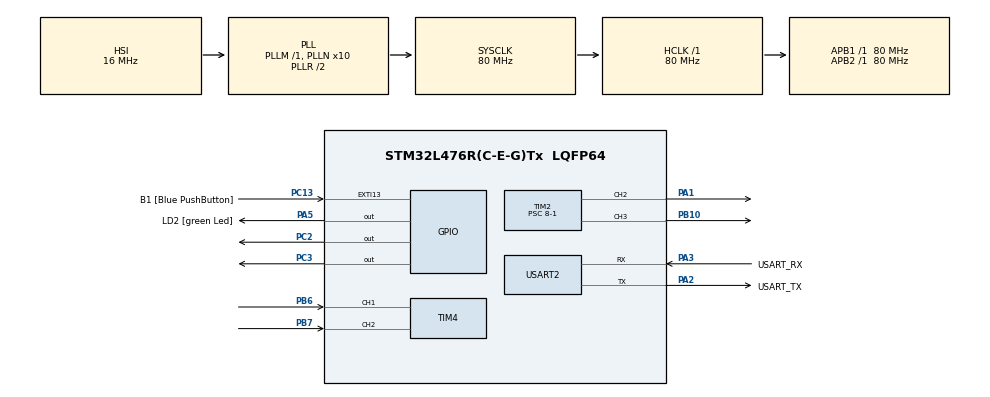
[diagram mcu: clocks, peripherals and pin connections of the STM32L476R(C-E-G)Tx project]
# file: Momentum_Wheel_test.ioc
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Mcu.Family=STM32L4
Mcu.Name=STM32L476R(C-E-G)Tx
Mcu.Package=LQFP64
NVIC.PriorityGroup=NVIC_PRIORITYGROUP_4
NVIC.TIM3_IRQn=true\:0\:0\:true\:false\:true\:true\:true
NVIC.USART2_IRQn=true\:0\:0\:true\:false\:true\:true\:true
PA1.Signal=S_TIM2_CH2
PA13\ (JTMS-SWDIO).GPIO_Label=TMS
PA13\ (JTMS-SWDIO).Mode=Serial_Wire
PA13\ (JTMS-SWDIO).Signal=SYS_JTMS-SWDIO
PA14\ (JTCK-SWCLK).GPIO_Label=TCK
PA14\ (JTCK-SWCLK).Mode=Serial_Wire
PA14\ (JTCK-SWCLK).Signal=SYS_JTCK-SWCLK
PA2.GPIO_Label=USART_TX
PA2.GPIO_Mode=GPIO_MODE_AF_PP
PA2.GPIO_PuPd=GPIO_NOPULL
PA2.GPIO_Speed=GPIO_SPEED_FREQ_VERY_HIGH
PA2.Mode=Asynchronous
PA2.Signal=USART2_TX
PA3.GPIO_Label=USART_RX
PA3.GPIO_Mode=GPIO_MODE_AF_PP
PA3.GPIO_PuPd=GPIO_NOPULL
PA3.GPIO_Speed=GPIO_SPEED_FREQ_VERY_HIGH
PA3.Mode=Asynchronous
PA3.Signal=USART2_RX
PA5.GPIO_Label=LD2 [green Led]
PA5.GPIO_ModeDefaultOutputPP=GPIO_MODE_OUTPUT_PP
PA5.GPIO_PuPd=GPIO_NOPULL
PA5.GPIO_Speed=GPIO_SPEED_FREQ_LOW
PA5.Signal=GPIO_Output
PB10.Signal=S_TIM2_CH3
PB3\ (JTDO-TRACESWO).GPIO_Label=SWO
PB3\ (JTDO-TRACESWO).Signal=SYS_JTDO-SWO
PB6.Signal=S_TIM4_CH1
PB7.Signal=S_TIM4_CH2
PC13.GPIO_Label=B1 [Blue PushButton]
PC13.GPIO_ModeDefaultEXTI=GPIO_MODE_IT_FALLING
PC13.GPIO_PuPd=GPIO_NOPULL
PC13.Signal=GPXTI13
PC14-OSC32_IN\ (PC14).Mode=LSE-External-Oscillator
PC14-OSC32_IN\ (PC14).Signal=RCC_OSC32_IN
PC15-OSC32_OUT\ (PC15).Mode=LSE-External-Oscillator
PC15-OSC32_OUT\ (PC15).Signal=RCC_OSC32_OUT
PC2.PinState=GPIO_PIN_RESET
PC2.Signal=GPIO_Output
PC3.PinState=GPIO_PIN_RESET
PC3.Signal=GPIO_Output
PH0-OSC_IN\ (PH0).Signal=RCC_OSC_IN
PH1-OSC_OUT\ (PH1).Signal=RCC_OSC_OUT
ProjectManager.HeapSize=0x200
ProjectManager.StackSize=0x400
ProjectManager.TargetToolchain=MDK-ARM V5.27
RCC.ADCFreq_Value=64000000
RCC.AHBFreq_Value=80000000
RCC.APB1Freq_Value=80000000
RCC.APB1TimFreq_Value=80000000
RCC.APB2Freq_Value=80000000
RCC.APB2TimFreq_Value=80000000
RCC.CortexFreq_Value=80000000
RCC.HCLKFreq_Value=80000000
RCC.HSE_VALUE=8000000
RCC.HSI_VALUE=16000000
RCC.MSI_VALUE=4000000
RCC.PLLN=10
RCC.PLLSourceVirtual=RCC_PLLSOURCE_HSI
RCC.PREFETCH_ENABLE=1
RCC.SYSCLKFreq_VALUE=80000000
RCC.SYSCLKSource=RCC_SYSCLKSOURCE_PLLCLK
RCC.USBFreq_Value=64000000
RCC.VCOOutputFreq_Value=160000000
SH.S_TIM2_CH2.0=TIM2_CH2,PWM Generation2 CH2
SH.S_TIM2_CH3.0=TIM2_CH3,PWM Generation3 CH3
SH.S_TIM4_CH1.0=TIM4_CH1,Encoder_Interface
SH.S_TIM4_CH2.0=TIM4_CH2,Encoder_Interface
TIM2.AutoReloadPreload=TIM_AUTORELOAD_PRELOAD_ENABLE
TIM2.Channel-PWM\ Generation2\ CH2=TIM_CHANNEL_2
TIM2.Channel-PWM\ Generation3\ CH3=TIM_CHANNEL_3
TIM2.Period=1000 - 1
TIM2.Prescaler=8-1
TIM2.Pulse-PWM\ Generation2\ CH2=100 - 1
TIM2.Pulse-PWM\ Generation3\ CH3=100-1
TIM3.AutoReloadPreload=TIM_AUTORELOAD_PRELOAD_ENABLE
TIM3.Period=1000 - 1
TIM3.Prescaler=400 - 1
TIM4.EncoderMode=TIM_ENCODERMODE_TI12
USART2.VirtualMode-Asynchronous=VM_ASYNC
VP_TIM2_VS_ClockSourceINT.Mode=Internal
VP_TIM3_VS_ClockSourceINT.Mode=Internal
board=NUCLEO-L476RG

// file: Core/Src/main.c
/* USER CODE BEGIN Header */
/**
  ******************************************************************************
  * @file           : main.c
  * @brief          : Main program body
  ******************************************************************************
  * @attention
  *
  * <h2><center>&copy; Copyright (c) 2021 STMicroelectronics.
  * All rights reserved.</center></h2>
  *
  * This software component is licensed by ST under BSD 3-Clause license,
  * the "License"; You may not use this file except in compliance with the
  * License. You may obtain a copy of the License at:
  *                        opensource.org/licenses/BSD-3-Clause
  *
  ******************************************************************************
  */
/* USER CODE END Header */
#include "main.h"
#include "tim.h"
#include "usart.h"
#include "gpio.h"

/* USER CODE BEGIN Includes */
#include "stdio.h"
#include "encoder.h"
#include "pid.h"

/* USER CODE END Includes */

/* USER CODE BEGIN PD */
#define UART2RxBuffer_Size 5
/* USER CODE END PD */

/* USER CODE BEGIN PV */
uint8_t UART2RxBuffer[UART2RxBuffer_Size];
float current_speed=0;
float target_speed=0;
/* USER CODE END PV */

void SystemClock_Config(void);

/* USER CODE BEGIN 0 */
int fputc(int ch, FILE *f)
{
	HAL_UART_Transmit(&huart2, (uint8_t*)&ch, 1, 1000);
	HAL_Delay(1);
	return 0;
}

void HAL_UART_RxCpltCallback(UART_HandleTypeDef *huart)
{
	UNUSED(huart);
    if( huart->Instance == USART2)
    {
		int setTarget_speed;
		setTarget_speed = (UART2RxBuffer[1]-48)*1000+(UART2RxBuffer[2]-48)*100+(UART2RxBuffer[3]-48)*10+UART2RxBuffer[4]-48;
		if(UART2RxBuffer[0]=='-')
			setTarget_speed = -setTarget_speed;

		target_speed = setTarget_speed;
    }
	HAL_UART_Receive_IT(&huart2, UART2RxBuffer, UART2RxBuffer_Size); 		//Enable Receive Interupt
}

void HAL_TIM_PeriodElapsedCallback(TIM_HandleTypeDef *htim)
{
	if (htim->Instance == htim3.Instance)
	{
		int iTempTim4Encoder,duty;
		iTempTim4Encoder = GetTim4Encoder();
		current_speed = iTempTim4Encoder*200/4.0/100.0;

		duty=PID(target_speed-current_speed);
		if(duty>=0) {
			HAL_GPIO_WritePin(GPIOC, GPIO_PIN_3, GPIO_PIN_SET);

			//TIM3->CCR2 = dutyCycle;
			__HAL_TIM_SET_COMPARE(&htim2, TIM_CHANNEL_2, 1000-duty);
		}
		else {
			HAL_GPIO_WritePin(GPIOC, GPIO_PIN_3, GPIO_PIN_RESET);

			//TIM3->CCR2 = dutyCycle;
			__HAL_TIM_SET_COMPARE(&htim2, TIM_CHANNEL_2, 1000+duty);
		}
	}

}
/* USER CODE END 0 */

int main(void)
{

  /* MCU Configuration--------------------------------------------------------*/

  /* Reset of all peripherals, Initializes the Flash interface and the Systick. */
  HAL_Init();

  /* Configure the system clock */
  SystemClock_Config();

  /* Initialize all configured peripherals */
  MX_GPIO_Init();
  MX_TIM2_Init();
  MX_TIM3_Init();
  MX_USART2_UART_Init();
  MX_TIM4_Init();
  /* USER CODE BEGIN 2 */
  HAL_TIM_Encoder_Start(&htim4, TIM_CHANNEL_ALL);
  HAL_TIM_Base_Start_IT(&htim3);

  HAL_GPIO_WritePin(GPIOC, GPIO_PIN_2, GPIO_PIN_SET);
  HAL_TIM_PWM_Start(&htim2, TIM_CHANNEL_2);
  //HAL_TIM_PWM_Start(&htim2, TIM_CHANNEL_3);
  HAL_UART_Receive_IT(&huart2, UART2RxBuffer, UART2RxBuffer_Size);
  /* USER CODE END 2 */

  /* Infinite loop */
  while (1)
  {

    /* USER CODE BEGIN 3 */
	char send_data1[30];
	char send_data2[30];
	//printf("Target_speed:%lf\r\n",target_speed);
	sprintf(send_data1,"Target_speed:%f\r\n",target_speed);
	HAL_UART_Transmit(&huart2, (uint8_t*)send_data1, 30, 1000);
	sprintf(send_data2,"Current_speed:%f\r\n",current_speed);
	HAL_UART_Transmit(&huart2, (uint8_t*)send_data2, 30, 1000);
	HAL_GPIO_TogglePin(GPIOA, GPIO_PIN_5);
	HAL_Delay(100);
  }
  /* USER CODE END 3 */
}

void SystemClock_Config(void)
{
  RCC_OscInitTypeDef RCC_OscInitStruct = {0};
  RCC_ClkInitTypeDef RCC_ClkInitStruct = {0};
  RCC_PeriphCLKInitTypeDef PeriphClkInit = {0};

  /** Initializes the RCC Oscillators according to the specified parameters
  * in the RCC_OscInitTypeDef structure.
  */
  RCC_OscInitStruct.OscillatorType = RCC_OSCILLATORTYPE_HSI;
  RCC_OscInitStruct.HSIState = RCC_HSI_ON;
  RCC_OscInitStruct.HSICalibrationValue = RCC_HSICALIBRATION_DEFAULT;
  RCC_OscInitStruct.PLL.PLLState = RCC_PLL_ON;
  RCC_OscInitStruct.PLL.PLLSource = RCC_PLLSOURCE_HSI;
  RCC_OscInitStruct.PLL.PLLM = 1;
  RCC_OscInitStruct.PLL.PLLN = 10;
  RCC_OscInitStruct.PLL.PLLP = RCC_PLLP_DIV7;
  RCC_OscInitStruct.PLL.PLLQ = RCC_PLLQ_DIV2;
  RCC_OscInitStruct.PLL.PLLR = RCC_PLLR_DIV2;
  if (HAL_RCC_OscConfig(&RCC_OscInitStruct) != HAL_OK)
  {
    Error_Handler();
  }
  /** Initializes the CPU, AHB and APB buses clocks
  */
  RCC_ClkInitStruct.ClockType = RCC_CLOCKTYPE_HCLK|RCC_CLOCKTYPE_SYSCLK
                              |RCC_CLOCKTYPE_PCLK1|RCC_CLOCKTYPE_PCLK2;
  RCC_ClkInitStruct.SYSCLKSource = RCC_SYSCLKSOURCE_PLLCLK;
  RCC_ClkInitStruct.AHBCLKDivider = RCC_SYSCLK_DIV1;
  RCC_ClkInitStruct.APB1CLKDivider = RCC_HCLK_DIV1;
  RCC_ClkInitStruct.APB2CLKDivider = RCC_HCLK_DIV1;

  if (HAL_RCC_ClockConfig(&RCC_ClkInitStruct, FLASH_LATENCY_4) != HAL_OK)
  {
    Error_Handler();
  }
  PeriphClkInit.PeriphClockSelection = RCC_PERIPHCLK_USART2;
  PeriphClkInit.Usart2ClockSelection = RCC_USART2CLKSOURCE_PCLK1;
  if (HAL_RCCEx_PeriphCLKConfig(&PeriphClkInit) != HAL_OK)
  {
    Error_Handler();
  }
  /** Configure the main internal regulator output voltage
  */
  if (HAL_PWREx_ControlVoltageScaling(PWR_REGULATOR_VOLTAGE_SCALE1) != HAL_OK)
  {
    Error_Handler();
  }
}

void Error_Handler(void)
{
  __disable_irq();
  while (1)
  {
  }
}

/************************ (C) COPYRIGHT STMicroelectronics *****END OF FILE****/
